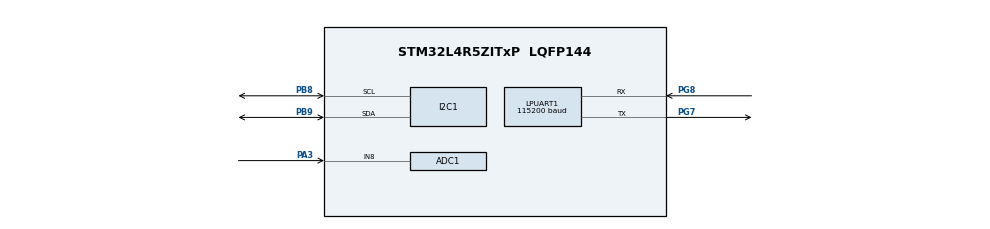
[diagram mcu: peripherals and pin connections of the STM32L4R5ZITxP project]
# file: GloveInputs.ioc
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ADC1.Channel-0\#ChannelRegularConversion=ADC_CHANNEL_8
ADC1.ClockPrescaler=ADC_CLOCK_ASYNC_DIV32
ADC1.ContinuousConvMode=ENABLE
ADC1.NbrOfConversionFlag=1
ADC1.OffsetNumber-0\#ChannelRegularConversion=ADC_OFFSET_NONE
ADC1.Rank-0\#ChannelRegularConversion=1
ADC1.SamplingTime-0\#ChannelRegularConversion=ADC_SAMPLETIME_640CYCLES_5
ADC1.master=1
I2C1.Timing=0x00100D14
LPUART1.BaudRate=115200
LPUART1.WordLength=UART_WORDLENGTH_8B
Mcu.Family=STM32L4
Mcu.Name=STM32L4R5ZITxP
Mcu.Package=LQFP144
NVIC.PriorityGroup=NVIC_PRIORITYGROUP_4
PA0.Signal=S_TIM2_CH1
PA1.Signal=ADCx_IN6
PA10.Signal=USB_OTG_FS_ID
PA13\ (JTMS/SWDIO).Signal=SYS_JTMS-SWDIO
PA14\ (JTCK/SWCLK).Signal=SYS_JTCK-SWCLK
PA3.Signal=ADCx_IN8
PA4.Signal=SPI1_NSS
PA5.Signal=SPI1_SCK
PA6.Signal=SPI1_MISO
PA7.Signal=SPI1_MOSI
PA8.Signal=USB_OTG_FS_SOF
PA9.Signal=USB_OTG_FS_VBUS
PB0.Signal=S_TIM3_CH3
PB1.Signal=ADCx_IN16
PB10.Signal=S_TIM2_CH3
PB12.Signal=SAI2_FS_A
PB13.Signal=SAI2_SCK_A
PB14.Signal=S_TIM15_CH1
PB15.Signal=SAI2_SD_A
PB2.Signal=COMP1_INP
PB3\ (JTDO/TRACESWO).Signal=SPI3_SCK
PB4\ (NJTRST).Signal=SPI3_MISO
PB5.Signal=SPI3_MOSI
PB6.Signal=COMP2_INP
PB8.Mode=I2C
PB8.Signal=I2C1_SCL
PB9.Mode=I2C
PB9.Signal=I2C1_SDA
PC0.Signal=ADCx_IN1
PC1.Signal=ADCx_IN2
PC10.Signal=SDMMC1_D2
PC11.Signal=SDMMC1_D3
PC12.Signal=SDMMC1_CK
PC13.Signal=SYS_WKUP2
PC14-OSC32_IN\ (PC14).Signal=RCC_OSC32_IN
PC15-OSC32_OUT\ (PC15).Signal=RCC_OSC32_OUT
PC2.Signal=ADCx_IN3
PC3.Signal=ADCx_IN4
PC4.Signal=ADCx_IN13
PC5.Signal=ADCx_IN14
PC6.Signal=SAI2_MCLK_A
PC7.Signal=S_TIM3_CH2
PC8.Signal=SDMMC1_D0
PC9.Signal=SDMMC1_D1
PD0.Signal=CAN1_RX
PD14.Signal=S_TIM4_CH3
PD15.Signal=S_TIM4_CH4
PD2.Signal=SDMMC1_CMD
PD3.Signal=USART2_CTS
PD4.Signal=USART2_RTS
PD5.Signal=USART2_TX
PD6.Signal=USART2_RX
PD8.Signal=USART3_TX
PD9.Signal=USART3_RX
PE0.Signal=S_TIM4_ETR
PE10.Signal=TIM1_CH2N
PE11.Signal=S_TIM1_CH2
PE12.Signal=TIM1_CH3N
PE13.Signal=S_TIM1_CH3
PE14.Signal=TIM1_BKIN2
PE15.Signal=TIM1_BKIN
PE2.Signal=SAI1_MCLK_A
PE3.Signal=SAI1_SD_B
PE7.Signal=S_TIM1_ETR
PE8.Signal=TIM1_CH1N
PE9.Signal=S_TIM1_CH1
PF0.Signal=I2C2_SDA
PF1.Signal=I2C2_SCL
PF2.Signal=I2C2_SMBA
PF7.Signal=SAI1_MCLK_B
PG7.Mode=Asynchronous
PG7.Signal=LPUART1_TX
PG8.Mode=Asynchronous
PG8.Signal=LPUART1_RX
PH0-OSC_IN\ (PH0).Signal=RCC_OSC_IN
PH1-OSC_OUT\ (PH1).Signal=RCC_OSC_OUT
ProjectManager.HeapSize=0x200
ProjectManager.StackSize=0x400
ProjectManager.TargetToolchain=STM32CubeIDE
RCC.ADCFreq_Value=32000000
RCC.HSE_VALUE=8000000
RCC.HSI48_VALUE=48000000
RCC.HSI_VALUE=16000000
RCC.LSE_VALUE=32768
RCC.MSI_VALUE=4000000
RCC.PLLSAI1N=16
RCC.USBFreq_Value=32000000
RCC.VCOOutputFreq_Value=32000000
SH.ADCx_IN1.0=ADC1_IN1
SH.ADCx_IN13.0=ADC1_IN13
SH.ADCx_IN14.0=ADC1_IN14
SH.ADCx_IN16.0=ADC1_IN16
SH.ADCx_IN2.0=ADC1_IN2
SH.ADCx_IN3.0=ADC1_IN3
SH.ADCx_IN4.0=ADC1_IN4
SH.ADCx_IN6.0=ADC1_IN6
SH.ADCx_IN8.0=ADC1_IN8,IN8-Single-Ended
SH.S_TIM15_CH1.0=TIM15_CH1
SH.S_TIM1_CH1.0=TIM1_CH1
SH.S_TIM1_CH2.0=TIM1_CH2
SH.S_TIM1_CH3.0=TIM1_CH3
SH.S_TIM1_ETR.0=TIM1_ETR
SH.S_TIM2_CH1.0=TIM2_CH1
SH.S_TIM2_CH3.0=TIM2_CH3
SH.S_TIM3_CH2.0=TIM3_CH2
SH.S_TIM3_CH3.0=TIM3_CH3
SH.S_TIM4_CH3.0=TIM4_CH3
SH.S_TIM4_CH4.0=TIM4_CH4
SH.S_TIM4_ETR.0=TIM4_ETR
board=NUCLEO-L4R5ZI-P

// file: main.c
/* USER CODE BEGIN Header */
/**
  ******************************************************************************
  * @file           : main.c
  * @brief          : Main program body
  ******************************************************************************
  * @attention
  *
  * Copyright (c) 2025 STMicroelectronics.
  * All rights reserved.
  *
  * This software is licensed under terms that can be found in the LICENSE file
  * in the root directory of this software component.
  * If no LICENSE file comes with this software, it is provided AS-IS.
  *
  ******************************************************************************
  */
/* USER CODE END Header */
#include "main.h"
#include "stdio.h"
#define SAD_M_R 0x3D

#define SAD_M_W 0x3C
#define SAD_A_R 0x32
#define SAD_A_W 0x33
#define ADC_MAX_VALUE 4095

ADC_HandleTypeDef hadc1;

I2C_HandleTypeDef hi2c1;

UART_HandleTypeDef hlpuart1;

void SystemClock_Config(void);
static void MX_GPIO_Init(void);
static void MX_ADC1_Init(void);
static void MX_I2C1_Init(void);
static void MX_LPUART1_UART_Init(void);

/* USER CODE BEGIN 0 */
uint8_t map_adc_to_flex_value(uint32_t adc_value) {

	uint8_t flex_value = ((adc_value * 100) / ADC_MAX_VALUE);

    if (flex_value < 1) flex_value = 1;

    if (flex_value > 100) flex_value = 100;

    return flex_value;

}

uint8_t find_direction(int16_t x){

	uint8_t direction = 3;

	if (x > 3000){ // left

		direction = 1;

		return direction;

	}

	else if (x < -3000){ // right
		direction = 2;
		return direction;
	}

	else { // straight
		direction = 3;
		return direction;
	}

}

/* USER CODE END 0 */

int main(void)
{

  /* MCU Configuration--------------------------------------------------------*/

  /* Reset of all peripherals, Initializes the Flash interface and the Systick. */
  HAL_Init();

  /* Configure the system clock */
  SystemClock_Config();

  /* Initialize all configured peripherals */
  MX_GPIO_Init();
  MX_ADC1_Init();
  MX_I2C1_Init();
  MX_LPUART1_UART_Init();
  /* USER CODE BEGIN 2 */

  uint8_t buf[10]= {0x0A};//IRA_REG_M returns 0x48
  buf[0] = 0x20; //addr=0x20

  buf[1] = 0x97;

  int ret = HAL_I2C_Master_Transmit(&hi2c1, SAD_A_W, &buf[0], 2, 1000);

  int16_t x, y, z;
  uint8_t direction = 3;
  uint32_t adc_value = 0; // raw input
  uint8_t sensor_value = 0; // 1-100
  uint8_t flex_value = 0;
  HAL_ADC_Start(&hadc1); // Start ADC in continuous mode

  /* USER CODE END 2 */

  /* Infinite loop */
  /* USER CODE BEGIN WHILE */
  while (1)
  {
	  HAL_Delay(500);

	  // x

	  buf[0] = 0xA8; //addr=0x28

	  ret = HAL_I2C_Master_Transmit(&hi2c1, SAD_A_W, &buf[0], 1, 1000);

	  ret = HAL_I2C_Master_Receive(&hi2c1, SAD_A_R, &buf[0], 6, 1000);

	  x = ((int16_t)buf[1] << 8) + (int16_t)buf[0];

	  y = ((int16_t)(buf[3]) << 8) + (int16_t)buf[2];

	  z = ((int16_t)buf[5] << 8) + (int16_t)buf[4];

	   printf("x: %d, %.2f Ga\n", x, (float)x / 15844);

	   printf("y: %d, %.2f Ga\n", y, (float)y / 15844);

	   printf("z %d, %.2f Ga\n", z, (float)z / 15844);

	    adc_value = HAL_ADC_GetValue(&hadc1);

	    flex_value = map_adc_to_flex_value(adc_value);

	    direction = find_direction(x);

	    printf("Direction: %d\n", direction);

	    printf("Duty Cycle Percent: %d\n", flex_value);

	    HAL_Delay(500);
    /* USER CODE END WHILE */

  }
}

void SystemClock_Config(void)
{
  RCC_OscInitTypeDef RCC_OscInitStruct = {0};
  RCC_ClkInitTypeDef RCC_ClkInitStruct = {0};

  /** Configure the main internal regulator output voltage
  */
  if (HAL_PWREx_ControlVoltageScaling(PWR_REGULATOR_VOLTAGE_SCALE1) != HAL_OK)
  {
    Error_Handler();
  }

  /** Initializes the RCC Oscillators according to the specified parameters
  * in the RCC_OscInitTypeDef structure.
  */
  RCC_OscInitStruct.OscillatorType = RCC_OSCILLATORTYPE_MSI;
  RCC_OscInitStruct.MSIState = RCC_MSI_ON;
  RCC_OscInitStruct.MSICalibrationValue = 0;
  RCC_OscInitStruct.MSIClockRange = RCC_MSIRANGE_6;
  RCC_OscInitStruct.PLL.PLLState = RCC_PLL_NONE;
  if (HAL_RCC_OscConfig(&RCC_OscInitStruct) != HAL_OK)
  {
    Error_Handler();
  }

  /** Initializes the CPU, AHB and APB buses clocks
  */
  RCC_ClkInitStruct.ClockType = RCC_CLOCKTYPE_HCLK|RCC_CLOCKTYPE_SYSCLK
                              |RCC_CLOCKTYPE_PCLK1|RCC_CLOCKTYPE_PCLK2;
  RCC_ClkInitStruct.SYSCLKSource = RCC_SYSCLKSOURCE_MSI;
  RCC_ClkInitStruct.AHBCLKDivider = RCC_SYSCLK_DIV1;
  RCC_ClkInitStruct.APB1CLKDivider = RCC_HCLK_DIV1;
  RCC_ClkInitStruct.APB2CLKDivider = RCC_HCLK_DIV1;

  if (HAL_RCC_ClockConfig(&RCC_ClkInitStruct, FLASH_LATENCY_0) != HAL_OK)
  {
    Error_Handler();
  }
}

static void MX_ADC1_Init(void)
{

  ADC_ChannelConfTypeDef sConfig = {0};

  /** Common config
  */
  hadc1.Instance = ADC1;
  hadc1.Init.ClockPrescaler = ADC_CLOCK_ASYNC_DIV32;
  hadc1.Init.Resolution = ADC_RESOLUTION_12B;
  hadc1.Init.DataAlign = ADC_DATAALIGN_RIGHT;
  hadc1.Init.ScanConvMode = ADC_SCAN_DISABLE;
  hadc1.Init.EOCSelection = ADC_EOC_SINGLE_CONV;
  hadc1.Init.LowPowerAutoWait = DISABLE;
  hadc1.Init.ContinuousConvMode = ENABLE;
  hadc1.Init.NbrOfConversion = 1;
  hadc1.Init.DiscontinuousConvMode = DISABLE;
  hadc1.Init.ExternalTrigConv = ADC_SOFTWARE_START;
  hadc1.Init.ExternalTrigConvEdge = ADC_EXTERNALTRIGCONVEDGE_NONE;
  hadc1.Init.DMAContinuousRequests = DISABLE;
  hadc1.Init.Overrun = ADC_OVR_DATA_PRESERVED;
  hadc1.Init.OversamplingMode = DISABLE;
  if (HAL_ADC_Init(&hadc1) != HAL_OK)
  {
    Error_Handler();
  }

  /** Configure Regular Channel
  */
  sConfig.Channel = ADC_CHANNEL_8;
  sConfig.Rank = ADC_REGULAR_RANK_1;
  sConfig.SamplingTime = ADC_SAMPLETIME_640CYCLES_5;
  sConfig.SingleDiff = ADC_SINGLE_ENDED;
  sConfig.OffsetNumber = ADC_OFFSET_NONE;
  sConfig.Offset = 0;
  if (HAL_ADC_ConfigChannel(&hadc1, &sConfig) != HAL_OK)
  {
    Error_Handler();
  }

}

static void MX_I2C1_Init(void)
{

  hi2c1.Instance = I2C1;
  hi2c1.Init.Timing = 0x00100D14;
  hi2c1.Init.OwnAddress1 = 0;
  hi2c1.Init.AddressingMode = I2C_ADDRESSINGMODE_7BIT;
  hi2c1.Init.DualAddressMode = I2C_DUALADDRESS_DISABLE;
  hi2c1.Init.OwnAddress2 = 0;
  hi2c1.Init.OwnAddress2Masks = I2C_OA2_NOMASK;
  hi2c1.Init.GeneralCallMode = I2C_GENERALCALL_DISABLE;
  hi2c1.Init.NoStretchMode = I2C_NOSTRETCH_DISABLE;
  if (HAL_I2C_Init(&hi2c1) != HAL_OK)
  {
    Error_Handler();
  }

  /** Configure Analogue filter
  */
  if (HAL_I2CEx_ConfigAnalogFilter(&hi2c1, I2C_ANALOGFILTER_ENABLE) != HAL_OK)
  {
    Error_Handler();
  }

  /** Configure Digital filter
  */
  if (HAL_I2CEx_ConfigDigitalFilter(&hi2c1, 0) != HAL_OK)
  {
    Error_Handler();
  }

}

static void MX_LPUART1_UART_Init(void)
{

  hlpuart1.Instance = LPUART1;
  hlpuart1.Init.BaudRate = 115200;
  hlpuart1.Init.WordLength = UART_WORDLENGTH_8B;
  hlpuart1.Init.StopBits = UART_STOPBITS_1;
  hlpuart1.Init.Parity = UART_PARITY_NONE;
  hlpuart1.Init.Mode = UART_MODE_TX_RX;
  hlpuart1.Init.HwFlowCtl = UART_HWCONTROL_NONE;
  hlpuart1.Init.OneBitSampling = UART_ONE_BIT_SAMPLE_DISABLE;
  hlpuart1.Init.ClockPrescaler = UART_PRESCALER_DIV1;
  hlpuart1.AdvancedInit.AdvFeatureInit = UART_ADVFEATURE_NO_INIT;
  hlpuart1.FifoMode = UART_FIFOMODE_DISABLE;
  if (HAL_UART_Init(&hlpuart1) != HAL_OK)
  {
    Error_Handler();
  }
  if (HAL_UARTEx_SetTxFifoThreshold(&hlpuart1, UART_TXFIFO_THRESHOLD_1_8) != HAL_OK)
  {
    Error_Handler();
  }
  if (HAL_UARTEx_SetRxFifoThreshold(&hlpuart1, UART_RXFIFO_THRESHOLD_1_8) != HAL_OK)
  {
    Error_Handler();
  }
  if (HAL_UARTEx_DisableFifoMode(&hlpuart1) != HAL_OK)
  {
    Error_Handler();
  }

}

static void MX_GPIO_Init(void)
{
  GPIO_InitTypeDef GPIO_InitStruct = {0};

  /* GPIO Ports Clock Enable */
  __HAL_RCC_GPIOE_CLK_ENABLE();
  __HAL_RCC_GPIOC_CLK_ENABLE();
  __HAL_RCC_GPIOF_CLK_ENABLE();
  __HAL_RCC_GPIOH_CLK_ENABLE();
  __HAL_RCC_GPIOA_CLK_ENABLE();
  __HAL_RCC_GPIOB_CLK_ENABLE();
  __HAL_RCC_GPIOD_CLK_ENABLE();
  __HAL_RCC_GPIOG_CLK_ENABLE();
  HAL_PWREx_EnableVddIO2();

  /*Configure GPIO pins : PE2 PE3 */
  GPIO_InitStruct.Pin = GPIO_PIN_2|GPIO_PIN_3;
  GPIO_InitStruct.Mode = GPIO_MODE_AF_PP;
  GPIO_InitStruct.Pull = GPIO_NOPULL;
  GPIO_InitStruct.Speed = GPIO_SPEED_FREQ_LOW;
  GPIO_InitStruct.Alternate = GPIO_AF13_SAI1;
  HAL_GPIO_Init(GPIOE, &GPIO_InitStruct);

  /*Configure GPIO pins : PF0 PF1 PF2 */
  GPIO_InitStruct.Pin = GPIO_PIN_0|GPIO_PIN_1|GPIO_PIN_2;
  GPIO_InitStruct.Mode = GPIO_MODE_AF_OD;
  GPIO_InitStruct.Pull = GPIO_NOPULL;
  GPIO_InitStruct.Speed = GPIO_SPEED_FREQ_VERY_HIGH;
  GPIO_InitStruct.Alternate = GPIO_AF4_I2C2;
  HAL_GPIO_Init(GPIOF, &GPIO_InitStruct);

  /*Configure GPIO pin : PF7 */
  GPIO_InitStruct.Pin = GPIO_PIN_7;
  GPIO_InitStruct.Mode = GPIO_MODE_AF_PP;
  GPIO_InitStruct.Pull = GPIO_NOPULL;
  GPIO_InitStruct.Speed = GPIO_SPEED_FREQ_LOW;
  GPIO_InitStruct.Alternate = GPIO_AF13_SAI1;
  HAL_GPIO_Init(GPIOF, &GPIO_InitStruct);

  /*Configure GPIO pin : PA0 */
  GPIO_InitStruct.Pin = GPIO_PIN_0;
  GPIO_InitStruct.Mode = GPIO_MODE_AF_PP;
  GPIO_InitStruct.Pull = GPIO_NOPULL;
  GPIO_InitStruct.Speed = GPIO_SPEED_FREQ_LOW;
  GPIO_InitStruct.Alternate = GPIO_AF1_TIM2;
  HAL_GPIO_Init(GPIOA, &GPIO_InitStruct);

  /*Configure GPIO pins : PA4 PA5 PA6 PA7 */
  GPIO_InitStruct.Pin = GPIO_PIN_4|GPIO_PIN_5|GPIO_PIN_6|GPIO_PIN_7;
  GPIO_InitStruct.Mode = GPIO_MODE_AF_PP;
  GPIO_InitStruct.Pull = GPIO_NOPULL;
  GPIO_InitStruct.Speed = GPIO_SPEED_FREQ_VERY_HIGH;
  GPIO_InitStruct.Alternate = GPIO_AF5_SPI1;
  HAL_GPIO_Init(GPIOA, &GPIO_InitStruct);

  /*Configure GPIO pin : PB0 */
  GPIO_InitStruct.Pin = GPIO_PIN_0;
  GPIO_InitStruct.Mode = GPIO_MODE_AF_PP;
  GPIO_InitStruct.Pull = GPIO_NOPULL;
  GPIO_InitStruct.Speed = GPIO_SPEED_FREQ_LOW;
  GPIO_InitStruct.Alternate = GPIO_AF2_TIM3;
  HAL_GPIO_Init(GPIOB, &GPIO_InitStruct);

  /*Configure GPIO pins : PB2 PB6 */
  GPIO_InitStruct.Pin = GPIO_PIN_2|GPIO_PIN_6;
  GPIO_InitStruct.Mode = GPIO_MODE_ANALOG;
  GPIO_InitStruct.Pull = GPIO_NOPULL;
  HAL_GPIO_Init(GPIOB, &GPIO_InitStruct);

  /*Configure GPIO pins : PE7 PE8 PE9 PE10
                           PE11 PE12 PE13 */
  GPIO_InitStruct.Pin = GPIO_PIN_7|GPIO_PIN_8|GPIO_PIN_9|GPIO_PIN_10
                          |GPIO_PIN_11|GPIO_PIN_12|GPIO_PIN_13;
  GPIO_InitStruct.Mode = GPIO_MODE_AF_PP;
  GPIO_InitStruct.Pull = GPIO_NOPULL;
  GPIO_InitStruct.Speed = GPIO_SPEED_FREQ_LOW;
  GPIO_InitStruct.Alternate = GPIO_AF1_TIM1;
  HAL_GPIO_Init(GPIOE, &GPIO_InitStruct);

  /*Configure GPIO pins : PE14 PE15 */
  GPIO_InitStruct.Pin = GPIO_PIN_14|GPIO_PIN_15;
  GPIO_InitStruct.Mode = GPIO_MODE_AF_PP;
  GPIO_InitStruct.Pull = GPIO_NOPULL;
  GPIO_InitStruct.Speed = GPIO_SPEED_FREQ_LOW;
  GPIO_InitStruct.Alternate = GPIO_AF3_TIM1_COMP1;
  HAL_GPIO_Init(GPIOE, &GPIO_InitStruct);

  /*Configure GPIO pin : PB10 */
  GPIO_InitStruct.Pin = GPIO_PIN_10;
  GPIO_InitStruct.Mode = GPIO_MODE_AF_PP;
  GPIO_InitStruct.Pull = GPIO_NOPULL;
  GPIO_InitStruct.Speed = GPIO_SPEED_FREQ_LOW;
  GPIO_InitStruct.Alternate = GPIO_AF1_TIM2;
  HAL_GPIO_Init(GPIOB, &GPIO_InitStruct);

  /*Configure GPIO pins : PB12 PB13 PB15 */
  GPIO_InitStruct.Pin = GPIO_PIN_12|GPIO_PIN_13|GPIO_PIN_15;
  GPIO_InitStruct.Mode = GPIO_MODE_AF_PP;
  GPIO_InitStruct.Pull = GPIO_NOPULL;
  GPIO_InitStruct.Speed = GPIO_SPEED_FREQ_LOW;
  GPIO_InitStruct.Alternate = GPIO_AF13_SAI2;
  HAL_GPIO_Init(GPIOB, &GPIO_InitStruct);

  /*Configure GPIO pin : PB14 */
  GPIO_InitStruct.Pin = GPIO_PIN_14;
  GPIO_InitStruct.Mode = GPIO_MODE_AF_PP;
  GPIO_InitStruct.Pull = GPIO_NOPULL;
  GPIO_InitStruct.Speed = GPIO_SPEED_FREQ_LOW;
  GPIO_InitStruct.Alternate = GPIO_AF14_TIM15;
  HAL_GPIO_Init(GPIOB, &GPIO_InitStruct);

  /*Configure GPIO pins : PD8 PD9 */
  GPIO_InitStruct.Pin = GPIO_PIN_8|GPIO_PIN_9;
  GPIO_InitStruct.Mode = GPIO_MODE_AF_PP;
  GPIO_InitStruct.Pull = GPIO_NOPULL;
  GPIO_InitStruct.Speed = GPIO_SPEED_FREQ_VERY_HIGH;
  GPIO_InitStruct.Alternate = GPIO_AF7_USART3;
  HAL_GPIO_Init(GPIOD, &GPIO_InitStruct);

  /*Configure GPIO pins : PD14 PD15 */
  GPIO_InitStruct.Pin = GPIO_PIN_14|GPIO_PIN_15;
  GPIO_InitStruct.Mode = GPIO_MODE_AF_PP;
  GPIO_InitStruct.Pull = GPIO_NOPULL;
  GPIO_InitStruct.Speed = GPIO_SPEED_FREQ_LOW;
  GPIO_InitStruct.Alternate = GPIO_AF2_TIM4;
  HAL_GPIO_Init(GPIOD, &GPIO_InitStruct);

  /*Configure GPIO pin : PC6 */
  GPIO_InitStruct.Pin = GPIO_PIN_6;
  GPIO_InitStruct.Mode = GPIO_MODE_AF_PP;
  GPIO_InitStruct.Pull = GPIO_NOPULL;
  GPIO_InitStruct.Speed = GPIO_SPEED_FREQ_LOW;
  GPIO_InitStruct.Alternate = GPIO_AF13_SAI2;
  HAL_GPIO_Init(GPIOC, &GPIO_InitStruct);

  /*Configure GPIO pin : PC7 */
  GPIO_InitStruct.Pin = GPIO_PIN_7;
  GPIO_InitStruct.Mode = GPIO_MODE_AF_PP;
  GPIO_InitStruct.Pull = GPIO_NOPULL;
  GPIO_InitStruct.Speed = GPIO_SPEED_FREQ_LOW;
  GPIO_InitStruct.Alternate = GPIO_AF2_TIM3;
  HAL_GPIO_Init(GPIOC, &GPIO_InitStruct);

  /*Configure GPIO pins : PC8 PC9 PC10 PC11
                           PC12 */
  GPIO_InitStruct.Pin = GPIO_PIN_8|GPIO_PIN_9|GPIO_PIN_10|GPIO_PIN_11
                          |GPIO_PIN_12;
  GPIO_InitStruct.Mode = GPIO_MODE_AF_PP;
  GPIO_InitStruct.Pull = GPIO_NOPULL;
  GPIO_InitStruct.Speed = GPIO_SPEED_FREQ_VERY_HIGH;
  GPIO_InitStruct.Alternate = GPIO_AF12_SDMMC1;
  HAL_GPIO_Init(GPIOC, &GPIO_InitStruct);

  /*Configure GPIO pins : PA8 PA10 */
  GPIO_InitStruct.Pin = GPIO_PIN_8|GPIO_PIN_10;
  GPIO_InitStruct.Mode = GPIO_MODE_AF_PP;
  GPIO_InitStruct.Pull = GPIO_NOPULL;
  GPIO_InitStruct.Speed = GPIO_SPEED_FREQ_VERY_HIGH;
  GPIO_InitStruct.Alternate = GPIO_AF10_OTG_FS;
  HAL_GPIO_Init(GPIOA, &GPIO_InitStruct);

  /*Configure GPIO pin : PA9 */
  GPIO_InitStruct.Pin = GPIO_PIN_9;
  GPIO_InitStruct.Mode = GPIO_MODE_INPUT;
  GPIO_InitStruct.Pull = GPIO_NOPULL;
  HAL_GPIO_Init(GPIOA, &GPIO_InitStruct);

  /*Configure GPIO pin : PD0 */
  GPIO_InitStruct.Pin = GPIO_PIN_0;
  GPIO_InitStruct.Mode = GPIO_MODE_AF_PP;
  GPIO_InitStruct.Pull = GPIO_NOPULL;
  GPIO_InitStruct.Speed = GPIO_SPEED_FREQ_VERY_HIGH;
  GPIO_InitStruct.Alternate = GPIO_AF9_CAN1;
  HAL_GPIO_Init(GPIOD, &GPIO_InitStruct);

  /*Configure GPIO pin : PD2 */
  GPIO_InitStruct.Pin = GPIO_PIN_2;
  GPIO_InitStruct.Mode = GPIO_MODE_AF_PP;
  GPIO_InitStruct.Pull = GPIO_NOPULL;
  GPIO_InitStruct.Speed = GPIO_SPEED_FREQ_VERY_HIGH;
  GPIO_InitStruct.Alternate = GPIO_AF12_SDMMC1;
  HAL_GPIO_Init(GPIOD, &GPIO_InitStruct);

  /*Configure GPIO pins : PD3 PD4 PD5 PD6 */
  GPIO_InitStruct.Pin = GPIO_PIN_3|GPIO_PIN_4|GPIO_PIN_5|GPIO_PIN_6;
  GPIO_InitStruct.Mode = GPIO_MODE_AF_PP;
  GPIO_InitStruct.Pull = GPIO_NOPULL;
  GPIO_InitStruct.Speed = GPIO_SPEED_FREQ_VERY_HIGH;
  GPIO_InitStruct.Alternate = GPIO_AF7_USART2;
  HAL_GPIO_Init(GPIOD, &GPIO_InitStruct);

  /*Configure GPIO pins : PB3 PB4 PB5 */
  GPIO_InitStruct.Pin = GPIO_PIN_3|GPIO_PIN_4|GPIO_PIN_5;
  GPIO_InitStruct.Mode = GPIO_MODE_AF_PP;
  GPIO_InitStruct.Pull = GPIO_NOPULL;
  GPIO_InitStruct.Speed = GPIO_SPEED_FREQ_VERY_HIGH;
  GPIO_InitStruct.Alternate = GPIO_AF6_SPI3;
  HAL_GPIO_Init(GPIOB, &GPIO_InitStruct);

  /*Configure GPIO pin : PE0 */
  GPIO_InitStruct.Pin = GPIO_PIN_0;
  GPIO_InitStruct.Mode = GPIO_MODE_AF_PP;
  GPIO_InitStruct.Pull = GPIO_NOPULL;
  GPIO_InitStruct.Speed = GPIO_SPEED_FREQ_LOW;
  GPIO_InitStruct.Alternate = GPIO_AF2_TIM4;
  HAL_GPIO_Init(GPIOE, &GPIO_InitStruct);

}

/* USER CODE BEGIN 4 */
#ifdef __GNUC__
#define PUTCHAR_PROTOTYPE int __io_putchar(int ch)
#else
  #define PUTCHAR_PROTOTYPE int fputc(int ch, FILE *f)
#endif /* __GNUC__ */
PUTCHAR_PROTOTYPE
{
  HAL_UART_Transmit(&hlpuart1, (uint8_t *)&ch, 1, 0xFFFF);
  return ch;
}

/* USER CODE END 4 */

void Error_Handler(void)
{
  __disable_irq();
  while (1)
  {
  }
}
